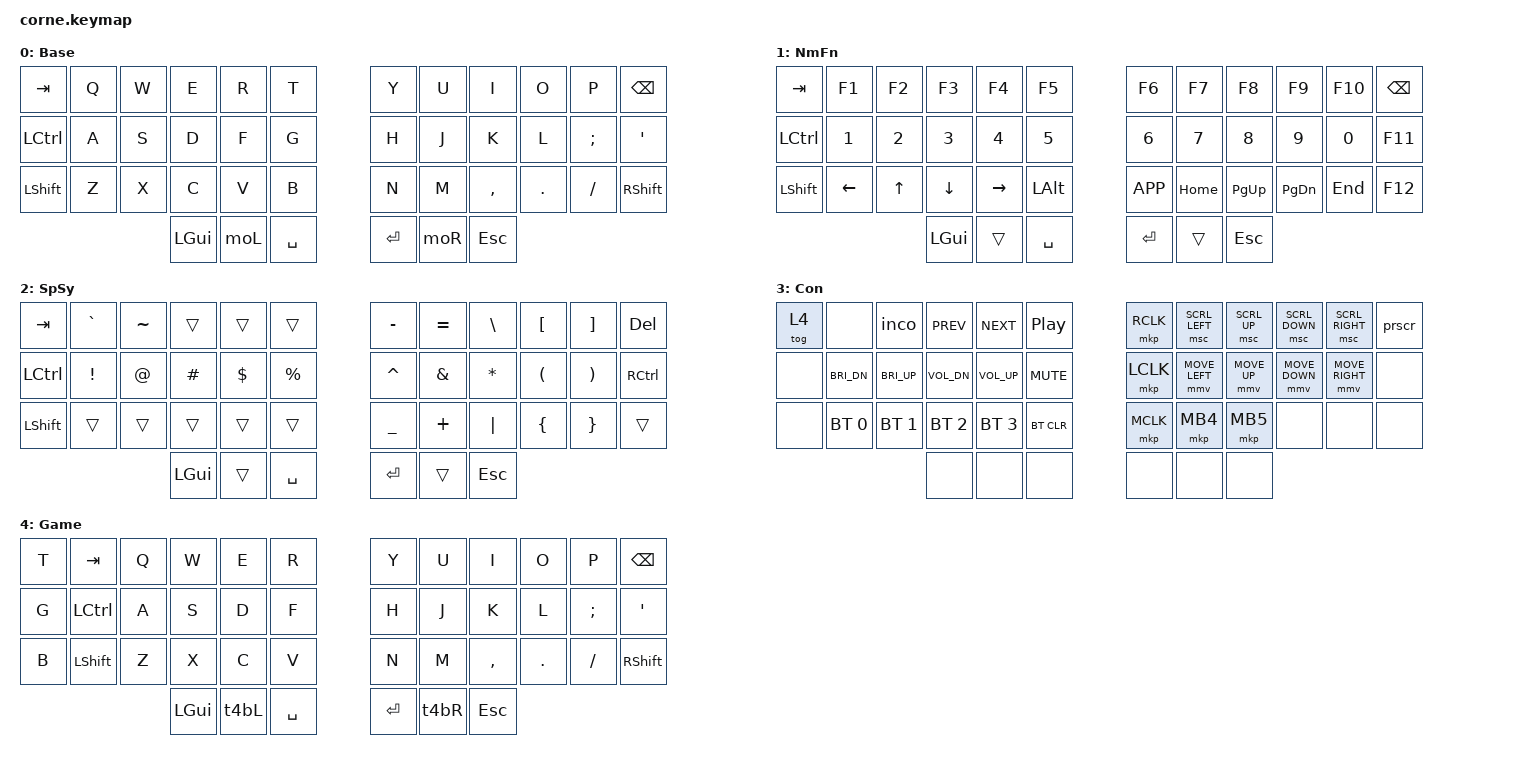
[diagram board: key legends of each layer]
/*
 * Copyright (c) 2020 The ZMK Contributors
 *
 * SPDX-License-Identifier: MIT
 */

#include <behaviors.dtsi>
#include <dt-bindings/zmk/keys.h>
#include <dt-bindings/zmk/bt.h>

#define ZMK_POINTING_DEFAULT_MOVE_VAL 1100  // default: 600, 1500 too fast
#define ZMK_POINTING_DEFAULT_SCRL_VAL 20    // default: 10
#include <dt-bindings/zmk/pointing.h>

/ {
    macros {
        cshe: cshe {
            compatible = "zmk,behavior-macro";
            #binding-cells = <0>;
            bindings
                = <&macro_press &kp LCTRL>
                , <&macro_press &kp LSHFT>
                , <&macro_tap &kp ESC>
                , <&macro_release &kp LCTRL>
                , <&macro_release &kp LSHFT>
                ;
        };
        inco: inco {
            compatible = "zmk,behavior-macro";
            #binding-cells = <0>;
            bindings
                = <&macro_press &kp LCTRL>
                , <&macro_press &kp LSHFT>
                , <&macro_tap &kp N>
                , <&macro_release &kp LCTRL>
                , <&macro_release &kp LSHFT>
                ;
        };
        
        t4m1t4: tog_4_mo_1_tog_4_in_release {
            compatible = "zmk,behavior-macro";
            #binding-cells = <0>;
            bindings
                = <&macro_tap &tog 4>
                , <&macro_press &mo 1>
                , <&macro_pause_for_release>
                , <&macro_release &mo 1>
                , <&macro_tap &tog 4>
                ;
        };
        t4m2t4: tog_4_mo_2_tog_4_in_release {
            compatible = "zmk,behavior-macro";
            #binding-cells = <0>;
            bindings
                = <&macro_tap &tog 4>
                , <&macro_press &mo 2>
                , <&macro_pause_for_release>
                , <&macro_release &mo 2>
                , <&macro_tap &tog 4>
                ;
        };
        
        wpscrn: win_print_screen {
            compatible = "zmk,behavior-macro";
            #binding-cells = <0>;
            bindings
                = <&macro_press &kp LGUI>
                , <&macro_tap &kp PSCRN>
                , <&macro_release &kp LGUI>
                ;
        };
    };
    
    behaviors {
        moL: mo_Left {
            compatible = "zmk,behavior-tap-dance";
            #binding-cells = <0>;
            tapping-term-ms = <200>;
            bindings = <&mo 1>, <&mo 3>;
        };
        moR: mo_Right {
            compatible = "zmk,behavior-tap-dance";
            #binding-cells = <0>;
            tapping-term-ms = <200>;
            bindings = <&mo 2>, <&mo 3>;
        };
        
        t4bL: tog4backL {
            compatible = "zmk,behavior-tap-dance";
            #binding-cells = <0>;
            tapping-term-ms = <200>;
            bindings = <&t4m1t4>, <&tog 4>;
        };
        t4bR: tog4backR {
            compatible = "zmk,behavior-tap-dance";
            #binding-cells = <0>;
            tapping-term-ms = <200>;
            bindings = <&t4m2t4>, <&tog 4>;
        };
        
        prscr: PrintScreen {
            compatible = "zmk,behavior-tap-dance";
            #binding-cells = <0>;
            tapping-term-ms = <200>;
            bindings = <&kp PSCRN>, <&wpscrn>;
        };
    };
    
    keymap {
        compatible = "zmk,keymap";

        default_layer {//0
            display-name = "Base";
            // -------------------------------------------------------------------------------------------
            // | TAB  |  Q  |  W  |  E  |  R  |  T  |               |  Y  |  U  |  I  |  O  |  P  | BKSP |
            // | CTRL |  A  |  S  |  D  |  F  |  G  |               |  H  |  J  |  K  |  L  |  ;  |  '   |           | : | " |
            // | SHFT |  Z  |  X  |  C  |  V  |  B  |               |  N  |  M  |  ,  |  .  |  /  | SHFT |   | < | > | ? |
            //              (-CON-)     | GUI |-LWR-| SPC |   | ENT |-RSE-| ESC |     (-CON-)
            bindings = <
                &kp TAB   &kp Q &kp W &kp E &kp R &kp T            &kp Y &kp U  &kp I     &kp O   &kp P    &kp BSPC
                &kp LCTRL &kp A &kp S &kp D &kp F &kp G            &kp H &kp J  &kp K     &kp L   &kp SEMI &kp SQT
                &kp LSHFT &kp Z &kp X &kp C &kp V &kp B            &kp N &kp M  &kp COMMA &kp DOT &kp FSLH &kp RSHFT
                             &kp LGUI  &moL   &kp SPACE            &kp RET  &moR   &kp ESC
            >;
        };
        lower_layer {//1
            display-name = "NmFn";
            // -------------------------------------------------------------------------------------------
            // | TAB  | F1  | F2  | F3  | F4  | F5  |               | F6  | F7  | F8  | F9  | F10 | BKSP |
            // | CTRL |  1  |  2  |  3  |  4  |  5  |               |  6  |  7  |  8  |  9  |  0  | F11  |
            // | SHFT | LFT | UP  | DWN | RGT | ALT |               | APP |HOME |PGUP |PGDN | END | F12  |
            //                          | GUI |-...-| SPC |   | ENT |     | ESC |
            bindings = <
                &kp TAB   &kp F1   &kp F2   &kp F3 &kp F4    &kp F5       &kp F6    &kp F7    &kp F8    &kp F9    &kp F10 &kp BSPC
                &kp LCTRL &kp N1   &kp N2   &kp N3 &kp N4    &kp N5       &kp N6    &kp N7    &kp N8    &kp N9    &kp N0  &kp F11
                &kp LSHFT &kp LEFT &kp UP &kp DOWN &kp RIGHT &kp LALT     &kp K_APP &kp HOME  &kp PG_UP &kp PG_DN &kp END &kp F12
                                          &kp LGUI  &trans  &kp SPACE     &kp RET  &trans  &kp ESC
            >;
        };
        raise_layer {//2
            display-name = "SpSy";
            // -------------------------------------------------------------------------------------------
            // | TAB  |  `  |  ~  |     |     |     |               |  -  |  =  |  \  |  [  |  ]  | DEL  |
            // | CTRL |  !  |  @  |  #  |  $  |  %  |               |  ^  |  &  |  *  |  (  |  )  | CTRL |
            // | SHFT |     |     |     |     |     |               |  _  |  +  | "|" |  {  |  }  |      |
            //                          | GUI |     | SPC |   | ENT |-...-| ESC |
            bindings = <
                &kp TAB   &kp GRAVE &kp TILDE &trans   &trans   &trans           &kp MINUS &kp EQUAL &kp BSLH  &kp LBKT &kp RBKT &kp DELETE
                &kp LCTRL &kp EXCL  &kp AT    &kp HASH &kp DLLR &kp PRCNT        &kp CARET &kp AMPS  &kp ASTRK &kp LPAR &kp RPAR &kp RCTRL
                &kp LSHFT &trans    &trans    &trans   &trans   &trans           &kp UNDER &kp PLUS  &kp PIPE  &kp LBRC &kp RBRC &trans
                                              &kp LGUI  &trans  &kp SPACE        &kp RET  &trans  &kp ESC
            >;
        };
        control_layer {//3
            display-name = "Con";
            // -------------------------------------------------------------------------------------------
            // |+GAME+|     | INCO| PREV| NEXT| PP  |               | RMB | MSL | MSU | MSD | MSR | PSCRN|
            // |      |BRIDN|BRIUP|VOLDN|VOLUP|MUTE |               | LMB | MML | MMU | MMD | MMR |      |
            // |      | BT1 | BT2 | BT3 | BT4 |BTCLR|               | CMB | 4MB | 5MB |     |     |      |
            //                          |     |-...-|     |   |     |-...-|     |
            bindings = <
                &tog 4 &none        &inco        &kp C_PREV   &kp C_NEXT   &kp C_PP          &mkp RCLK &msc SCRL_LEFT &msc SCRL_UP &msc SCRL_DOWN &msc SCRL_RIGHT &prscr
                &none  &kp C_BRI_DN &kp C_BRI_UP &kp C_VOL_DN &kp C_VOL_UP &kp C_MUTE        &mkp LCLK &mmv MOVE_LEFT &mmv MOVE_UP &mmv MOVE_DOWN &mmv MOVE_RIGHT &none
                &none  &bt BT_SEL 0 &bt BT_SEL 1 &bt BT_SEL 2 &bt BT_SEL 3 &bt BT_CLR        &mkp MCLK &mkp MB4       &mkp MB5     &none          &none           &none
                                                                  &none  &none  &none        &none  &none  &none
            >;
        };
        game_layer {//4
            display-name = "Game";
            // -------------------------------------------------------------------------------------------
            // |  T   | TAB |  Q  |  W  |  E  |  R  |               |  Y  |  U  |  I  |  O  |  P  | BKSP |
            // |  G   | CTRL|  A  |  S  |  D  |  F  |               |  H  |  J  |  K  |  L  |  ;  |  '   |       | :  | " |
            // |  B   | SHFT|  Z  |  X  |  C  |  V  |               |  N  |  M  |  ,  |  .  |  /  | SHFT |   | < | >  | ? |
            //              (+BAS+)     | GUI |-LWR-| SPC |   | ENT |-RSE-| ESC |     (+BAS+)
            bindings = <
                &kp T &kp TAB   &kp Q &kp W &kp E &kp R            &kp Y &kp U  &kp I     &kp O   &kp P    &kp BSPC
                &kp G &kp LCTRL &kp A &kp S &kp D &kp F            &kp H &kp J  &kp K     &kp L   &kp SEMI &kp SQT
                &kp B &kp LSHFT &kp Z &kp X &kp C &kp V            &kp N &kp M  &kp COMMA &kp DOT &kp FSLH &kp RSHFT
                             &kp LGUI  &t4bL  &kp SPACE            &kp RET  &t4bR  &kp ESC
            >;
        };
        
    };
};
